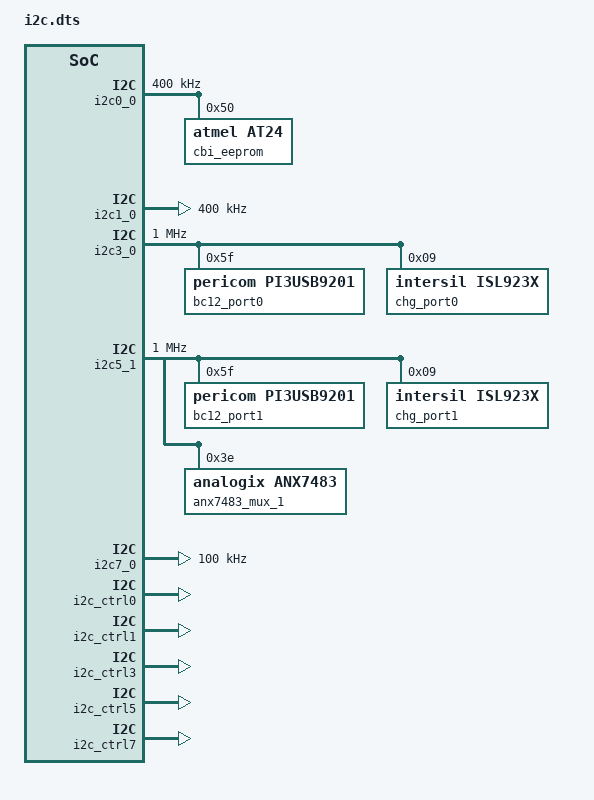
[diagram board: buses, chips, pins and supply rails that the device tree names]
/* Copyright 2022 The ChromiumOS Authors
 * Use of this source code is governed by a BSD-style license that can be
 * found in the LICENSE file.
 */

/ {
	named-i2c-ports {
		compatible = "named-i2c-ports";

		i2c_ec_i2c_eeprom: ec_i2c_eeprom {
			i2c-port = <&i2c0_0>;
			enum-names = "I2C_PORT_EEPROM";
		};
		i2c_ec_i2c_sensor: ec_i2c_sensor {
			i2c-port = <&i2c1_0>;
			enum-names = "I2C_PORT_SENSOR";
		};
		i2c_ec_i2c_usb_c0: ec_i2c_usb_c0 {
			i2c-port = <&i2c3_0>;
			enum-names = "I2C_PORT_USB_C0_TCPC";
		};
		i2c_ec_i2c_sub_usb_c1: ec_i2c_sub_usb_c1 {
			i2c-port = <&i2c5_1>;
			enum-names = "I2C_PORT_USB_C1_TCPC";
		};
		i2c_ec_i2c_batt: ec_i2c_batt {
			i2c-port = <&i2c7_0>;
			enum-names = "I2C_PORT_BATTERY";
		};
	};
};

&i2c0_0 {
	label = "I2C_EEPROM";
	clock-frequency = <I2C_BITRATE_FAST>;
	status = "okay";
	pinctrl-0 = <&i2c0_0_sda_scl_gpb4_b5>;
	pinctrl-names = "default";

	cbi_eeprom: eeprom@50 {
		compatible = "atmel,at24";
		reg = <0x50>;
		size = <2048>;
		pagesize = <16>;
		address-width = <8>;
		timeout = <5>;
	};
};

/* Set bus speeds for I2C */
&i2c1_0 {
	label = "I2C_SENSOR";
	clock-frequency = <I2C_BITRATE_FAST>;
	status = "okay";
	pinctrl-0 = <&i2c1_0_sda_scl_gp87_90>;
	pinctrl-names = "default";
};

&i2c3_0 {
	label = "I2C_USB_C0_TCPC";
	clock-frequency = <I2C_BITRATE_FAST_PLUS>;
	status = "okay";
	pinctrl-0 = <&i2c3_0_sda_scl_gpd0_d1>;
	pinctrl-names = "default";

	bc12_port0: pi3usb9201@5f {
		compatible = "pericom,pi3usb9201";
		status = "okay";
		reg = <0x5f>;
		/*
		 * BC1.2 interrupt is shared with TCPC, so
		 * IRQ is not specified here and handled by
		 * usb_c0_interrupt.
		 */
	};

	chg_port0: isl923x@9 {
		compatible = "intersil,isl923x";
		status = "okay";
		reg = <0x9>;
	};
};

&i2c5_1 {
	label = "I2C_SUB_C1_TCPC";
	clock-frequency = <I2C_BITRATE_FAST_PLUS>;
	status = "okay";
	pinctrl-0 = <&i2c5_1_sda_scl_gpf4_f5>;
	pinctrl-names = "default";

	bc12_port1: pi3usb9201@5f {
		compatible = "pericom,pi3usb9201";
		status = "okay";
		reg = <0x5f>;
	};

	chg_port1: isl923x@9 {
		compatible = "intersil,isl923x";
		status = "okay";
		reg = <0x9>;
	};

	anx7483_mux_1: anx7483-mux-1@3e {
		compatible = "analogix,anx7483";
		reg = <0x3e>;
		board-set = "anx7483_set_default_tuning";
	};
};

&i2c7_0 {
	label = "I2C_BATTERY";
	clock-frequency = <I2C_BITRATE_STANDARD>;
	status = "okay";
	pinctrl-0 = <&i2c7_0_sda_scl_gpb2_b3>;
	pinctrl-names = "default";
};

&i2c_ctrl0 {
	status = "okay";
};

&i2c_ctrl1 {
	status = "okay";
};

&i2c_ctrl3 {
	status = "okay";
};

&i2c_ctrl5 {
	status = "okay";
};

&i2c_ctrl7 {
	status = "okay";
};
